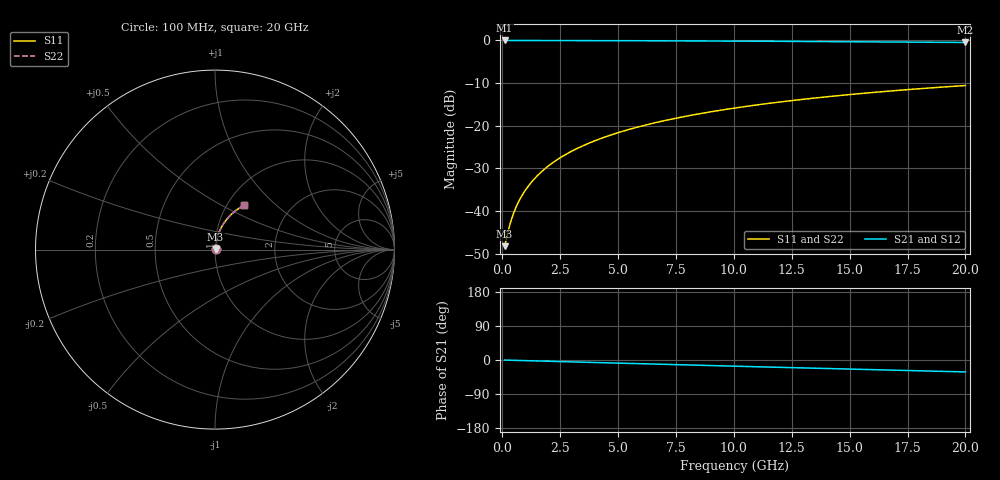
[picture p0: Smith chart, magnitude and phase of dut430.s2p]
! Touchstone file exported from HFSS 2026.1.0
!  File:  C:/ffzhzh/LocalFiles/Ansys_Project_Files/temp_train_BSMRDL_430_1783012894_4048.aedt
!  Generated:  01:23:00 AM Jul  3, 2026
!  Design:  BSMRDL
!  Project:  temp_train_BSMRDL_430_1783012894_4048
! Variables:
!  h_bsmrdl = 3.06um
!  h_ox = 20um
!  h_rdl = 5um
!  h_sub = 80um
!  h_tmrdl = 5um
!  h_tsv = 80um
!  h_via = 3um
!  l_bsmrdl = 451.36um
!  l_sub = 851.36um
!  l_tmrdl = 200um
!  m_sub = 200um
!  pitch = 35.53um
!  r_tsv = 6um
!  s_tmrdl = 10um
!  w_bsmrdl = 16.19um
!  w_sub = 500um
!  w_tmrdl = 12um
!  x_tsv_center1 = 206um
!  x_tsv_center2 = 673.55um
!  x_tsv_center3 = 885.55um
!  x_tsv_center4 = 1353.1um
!  x_tsv_center5 = 1565.1um
!  x_tsv_center6 = 2032.65um
# GHz S MA R 50.000000
! Terminal data exported
! Port[1] = BSM_RDL1_1_T1
! Port[2] = BSM_RDL1_1_T2
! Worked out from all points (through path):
!   200 points, 100 MHz to 20 GHz, reference 50 ohm
!   highest |S21| = -0.03 dB at 100 MHz (marker M1); lowest = -0.5 dB at 20 GHz (marker M2)
!   group delay of S21, straight-line fit = 4.37 ps
!   lowest |S11| = -48.3 dB at 100 MHz (marker M3), VSWR 1.01, Z = 50.3 + j0.184 ohm
!   |S11| at or under -10 dB: start of sweep to end of sweep
!   |S22| runs from -48.3 to -10.6 dB; largest |S21 - S12| = 3e-15
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0.1  0.003863 28.2  0.9966 -0.2  0.9966 -0.2  0.003863 28.2
! Gamma 0 0 0 0
! Port Impedance 50 0 50 0
0.3  0.006489 55.9  0.9964 -0.5  0.9964 -0.5  0.006489 55.9
0.4  0.008029 61.8  0.9963 -0.7  0.9963 -0.7  0.008029 61.8
0.5  0.009599 65.8  0.9962 -0.9  0.9962 -0.9  0.009599 65.8
0.6  0.01118 68.6  0.996 -1.0  0.996 -1.0  0.01118 68.6
0.8  0.01436 72.3  0.9959 -1.4  0.9959 -1.4  0.01436 72.3
1  0.01756 74.7  0.9957 -1.7  0.9957 -1.7  0.01756 74.7
1.2  0.02079 76.3  0.9956 -2.0  0.9956 -2.0  0.02079 76.3
1.4  0.02403 77.4  0.9954 -2.3  0.9954 -2.3  0.02403 77.4
1.7  0.02892 78.5  0.9952 -2.8  0.9952 -2.8  0.02892 78.5
2.2  0.03709 79.4  0.9948 -3.7  0.9948 -3.7  0.03709 79.4
2.8  0.04692 79.6  0.9942 -4.6  0.9942 -4.6  0.04692 79.6
3.5  0.05836 79.4  0.9934 -5.8  0.9934 -5.8  0.05836 79.4
4.2  0.06974 78.8  0.9924 -6.9  0.9924 -6.9  0.06974 78.8
5  0.08265 77.9  0.9911 -8.3  0.9911 -8.3  0.08265 77.9
5.9  0.09704 76.8  0.9894 -9.7  0.9894 -9.7  0.09704 76.8
6.8  0.1112 75.6  0.9875 -11.2  0.9875 -11.2  0.1112 75.6
8.3  0.1345 73.4  0.9839 -13.6  0.9839 -13.6  0.1345 73.4
10.1  0.1617 70.8  0.979 -16.4  0.979 -16.4  0.1617 70.8
13.4  0.2093 65.9  0.9687 -21.6  0.9687 -21.6  0.2093 65.9
16.7  0.2539 61.1  0.957 -26.6  0.957 -26.6  0.2539 61.1
20  0.2954 56.4  0.9443 -31.5  0.9443 -31.5  0.2954 56.4
